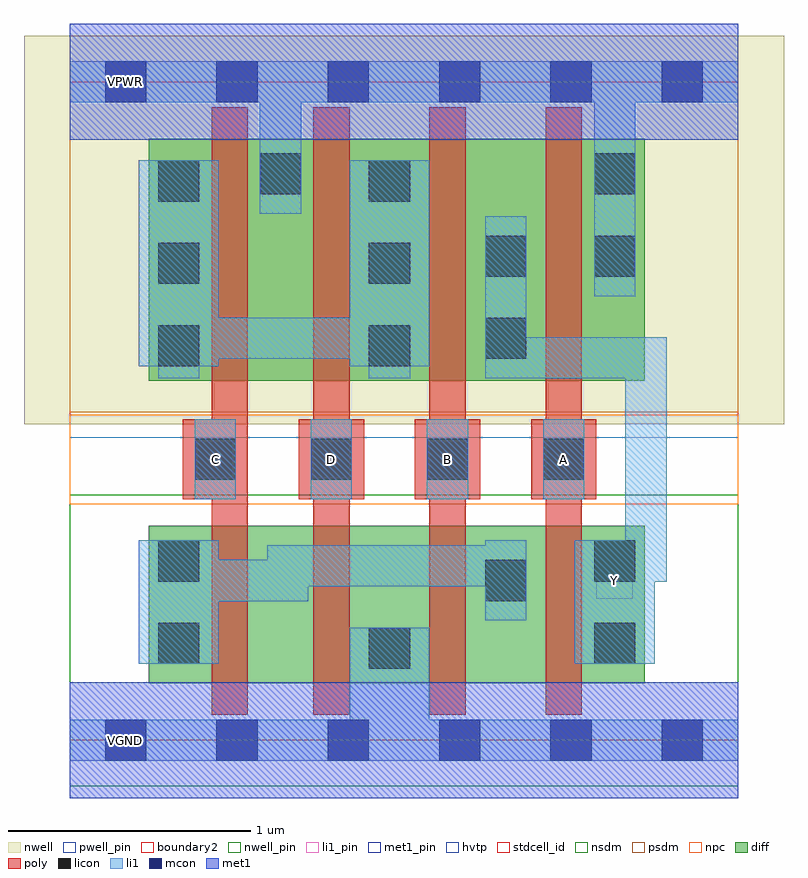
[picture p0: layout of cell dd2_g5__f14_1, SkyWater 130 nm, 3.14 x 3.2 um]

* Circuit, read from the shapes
.subckt dd2_g5__f14_1 A B C D VGND VNB VPB VPWR Y
XM1 n1 C n2 VNB sky130_fd_pr__nfet_01v8 w=0.65 l=0.15
XM2 VGND D n1 VNB sky130_fd_pr__nfet_01v8 w=0.65 l=0.15
XM3 n2 B VGND VNB sky130_fd_pr__nfet_01v8 w=0.65 l=0.15
XM4 Y A n2 VNB sky130_fd_pr__nfet_01v8 w=0.65 l=0.15
XM5 VPWR C n3 VPB sky130_fd_pr__pfet_01v8_hvt w=1 l=0.15
XM6 n3 D VPWR VPB sky130_fd_pr__pfet_01v8_hvt w=1 l=0.15
XM7 Y B n3 VPB sky130_fd_pr__pfet_01v8_hvt w=1 l=0.15
XM8 VPWR A Y VPB sky130_fd_pr__pfet_01v8_hvt w=1 l=0.15
.ends

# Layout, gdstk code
import gdstk
lib = gdstk.Library(unit=1e-6, precision=1e-09)
def R(c, l, rs):  # rectangles x0, y0, x1, y1
    for r in rs: c.add(gdstk.rectangle(r[:2], r[2:], *l))
def A(c, l, x, y, w, h, nx, ny, dx, dy):  # array of equal rectangles
    R(c, l, [(x+i*dx, y+j*dy, x+i*dx+w, y+j*dy+h) for i in range(nx) for j in range(ny)])
nwell_pin = (64, 16)
nwell = (64, 20)
diff = (65, 20)
poly = (66, 20)
licon = (66, 44)
li1_pin = (67, 16)
li1 = (67, 20)
mcon = (67, 44)
met1_pin = (68, 16)
met1 = (68, 20)
hvtp = (78, 44)
stdcell_id = (81, 4)
nsdm = (93, 44)
psdm = (94, 20)
npc = (95, 20)
pwell_pin = (122, 16)
boundary2 = (236, 0)

dd2_g5__f14_1 = lib.new_cell('dd2_g5__f14_1')
R(dd2_g5__f14_1, nwell_pin, [(0.145,2.635,0.315,2.805)])
R(dd2_g5__f14_1, nwell, [(-0.19,1.305,2.95,2.91)])
R(dd2_g5__f14_1, diff, [(0.325,0.235,1.08,0.885), (0.66,0.235,1.56,0.885), (1.08,0.235,2.04,0.885), (1.56,0.235,2.375,0.885), (0.325,1.485,1.08,2.485), (0.66,1.485,1.56,2.485), (1.08,1.485,2.04,2.485), (1.56,1.485,2.375,2.485)])
A(dd2_g5__f14_1, poly, 1.005, 0.105, 0.15, 2.51, 3, 1, 0.48, 0)
A(dd2_g5__f14_1, poly, 0.465, 0.995, 0.27, 0.33, 4, 1, 0.48, 0)
R(dd2_g5__f14_1, poly, [(0.585,0.105,0.735,2.615)])
A(dd2_g5__f14_1, licon, 0.515, 1.075, 0.17, 0.17, 4, 1, 0.48, 0)
A(dd2_g5__f14_1, licon, 0.365, 1.545, 0.17, 0.17, 1, 3, 0, 0.34)
A(dd2_g5__f14_1, licon, 1.235, 1.545, 0.17, 0.17, 1, 3, 0, 0.34)
R(dd2_g5__f14_1, licon, [(1.235,0.295,1.405,0.465), (0.365,0.315,0.535,0.485), (2.165,0.315,2.335,0.485), (1.715,0.575,1.885,0.745), (0.365,0.655,0.535,0.825), (2.165,0.655,2.335,0.825), (1.715,1.575,1.885,1.745), (1.715,1.915,1.885,2.085), (2.165,1.915,2.335,2.085), (0.785,2.255,0.955,2.425), (2.165,2.255,2.335,2.425)])
A(dd2_g5__f14_1, li1_pin, 0.525, 1.085, 0.15, 0.15, 4, 1, 0.48, 0)
R(dd2_g5__f14_1, li1_pin, [(0.145,-0.085,0.315,0.085), (2.175,0.585,2.325,0.735), (0.145,2.635,0.315,2.805)])
A(dd2_g5__f14_1, li1, 0.515, 0.995, 0.17, 0.33, 4, 1, 0.48, 0)
R(dd2_g5__f14_1, li1, [(0,-0.085,2.76,0.085), (1.155,0.085,1.485,0.465), (0.285,0.315,0.615,0.575), (2.085,0.315,2.415,0.655), (1.715,0.495,1.885,0.635), (0.285,0.575,0.985,0.635), (0.285,0.635,1.885,0.745), (2.085,0.655,2.465,0.825), (0.285,0.745,0.615,0.825), (0.815,0.745,1.885,0.805), (1.715,0.805,1.885,0.825), (2.295,0.825,2.465,1.495), (0.365,1.495,0.535,1.545), (1.235,1.495,1.405,1.545), (1.715,1.495,2.465,1.665), (0.285,1.545,0.615,1.575), (1.155,1.545,1.485,1.575), (0.285,1.575,1.485,1.745), (1.715,1.665,1.885,2.165), (0.285,1.745,0.615,2.395), (1.155,1.745,1.485,2.395), (2.165,1.835,2.335,2.635), (0.785,2.175,0.955,2.635), (0,2.635,2.76,2.805)])
A(dd2_g5__f14_1, mcon, 0.145, -0.085, 0.17, 0.17, 6, 2, 0.46, 2.72)
R(dd2_g5__f14_1, met1_pin, [(0.145,-0.085,0.315,0.085), (0.145,2.635,0.315,2.805)])
R(dd2_g5__f14_1, met1, [(0,-0.24,2.76,0.24), (0,2.48,2.76,2.96)])
R(dd2_g5__f14_1, hvtp, [(0,1.25,2.76,2.72)])
R(dd2_g5__f14_1, stdcell_id, [(0,0,2.76,2.72)])
R(dd2_g5__f14_1, nsdm, [(0,-0.19,2.76,1.015)])
R(dd2_g5__f14_1, psdm, [(0,1.355,2.76,2.91)])
R(dd2_g5__f14_1, npc, [(0,0.975,2.76,1.345)])
R(dd2_g5__f14_1, pwell_pin, [(0.145,-0.085,0.315,0.085)])
R(dd2_g5__f14_1, boundary2, [(0,0,2.76,2.72)])
dd2_g5__f14_1.add(gdstk.Label('VPWR', (0.23,2.72), layer=68, texttype=5))
dd2_g5__f14_1.add(gdstk.Label('VGND', (0.23,0), layer=68, texttype=5))
dd2_g5__f14_1.add(gdstk.Label('VPWR', (0.23,2.72), layer=67, texttype=5))
dd2_g5__f14_1.add(gdstk.Label('VGND', (0.23,0), layer=67, texttype=5))
dd2_g5__f14_1.add(gdstk.Label('A', (2.04,1.16), layer=67, texttype=5))
dd2_g5__f14_1.add(gdstk.Label('B', (1.56,1.16), layer=67, texttype=5))
dd2_g5__f14_1.add(gdstk.Label('C', (0.6,1.16), layer=67, texttype=5))
dd2_g5__f14_1.add(gdstk.Label('D', (1.08,1.16), layer=67, texttype=5))
dd2_g5__f14_1.add(gdstk.Label('Y', (2.25,0.66), layer=67, texttype=5))
dd2_g5__f14_1.add(gdstk.Label('VPB', (0.23,2.72), layer=64, texttype=5))
dd2_g5__f14_1.add(gdstk.Label('VNB', (0.23,0), layer=64, texttype=59))

lib.write_gds('dd2_g5__f14_1.gds')
